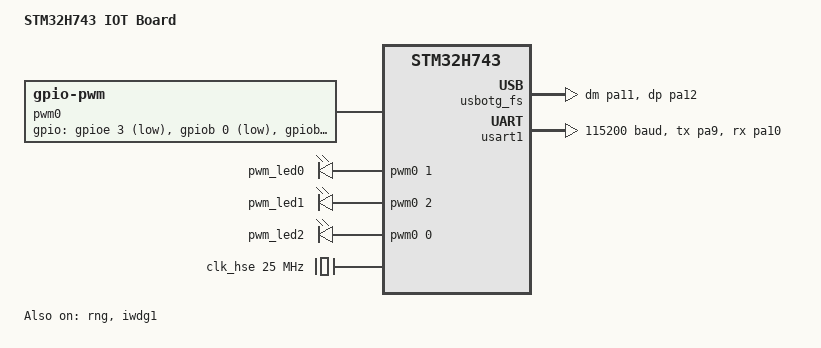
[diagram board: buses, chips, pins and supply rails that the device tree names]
/*
 * Copyright (c) 2024 Charles Dias <charlesdias.cd@outlook.com>
 *
 * SPDX-License-Identifier: Apache-2.0
 */

/dts-v1/;
#include <st/h7/stm32h743Xi.dtsi>
#include <st/h7/stm32h743xihx-pinctrl.dtsi>
#include <zephyr/dt-bindings/input/input-event-codes.h>
#include <zephyr/dt-bindings/mipi_dbi/mipi_dbi.h>
#include <zephyr/dt-bindings/gpio/gpio.h>

/ {
	model = "STM32H743 IOT Board";
	compatible = "st,stm32h743-IOT";

	chosen {
		zephyr,console = &usart1;
		zephyr,shell-uart = &usart1;
		zephyr,sram = &sram0;
		zephyr,flash = &flash0;
	};

	pwm0:gpio_pwm {
		compatible = "zephyr,gpio-pwm";
		pwm-controller;
		#pwm-cells = <2>;
		frequency = <20000>;
		gpios = <&gpioe 3 GPIO_ACTIVE_LOW>,
				<&gpiob 0 GPIO_ACTIVE_LOW>,
				<&gpiob 1 GPIO_ACTIVE_LOW>;
		status = "okay";
	};

	pwmleds {
		compatible = "pwm-leds";
		pwm_led0: pwm_led_0 {
			pwms = <&pwm0 1 PWM_MSEC(20)>;	/* R */
		};

		pwm_led1: pwm_led_1 {
			pwms = <&pwm0 2 PWM_MSEC(20)>;	/* G */
		};

		pwm_led2: pwm_led_2 {
			pwms = <&pwm0 0 PWM_MSEC(20)>; /* B */
		};
	};
};

&usbotg_fs {
	pinctrl-0 = <&usb_otg_fs_dm_pa11 &usb_otg_fs_dp_pa12>;
	pinctrl-names = "default";
	status = "okay";
};

// #include <../boards/common/usb/cdc_acm_serial.dtsi>

&usart1 {
	pinctrl-0 = <&usart1_tx_pa9 &usart1_rx_pa10>;
	pinctrl-names = "default";
	current-speed = <115200>;
	status = "okay";
};

&clk_lsi {
	status = "okay";
};

&clk_hsi {
	status = "okay";
};

&clk_hsi48 {
	status = "okay";
};

&clk_hse {
	clock-frequency = <DT_FREQ_M(25)>;
	status = "okay";
};

&pll {
	div-m = <5>;
	mul-n = <192>;
	div-p = <2>;
	div-q = <2>;
	div-r = <2>;
	clocks = <&clk_hse>;
	status = "okay";
};

&pll2 {
	div-m = <2>;
	mul-n = <12>;
	div-p = <2>;
	div-q = <2>;
	div-r = <2>;
	clocks = <&clk_hse>;
	status = "okay";
};

&pll3 {
	div-m = <2>;
	mul-n = <12>;
	div-p = <2>;
	div-q = <3>;
	div-r = <2>;
	clocks = <&clk_hse>;
	status = "okay";
};

&rcc {
	clocks = <&pll>;
	clock-frequency = <DT_FREQ_M(480)>;
	d1cpre = <1>;
	hpre = <2>;
	d1ppre = <2>;
	d2ppre1 = <2>;
	d2ppre2 = <2>;
	d3ppre = <2>;
};

&pwr {
	power-supply = "ldo";
};

&rng {
	status = "okay";
};

&backup_sram {
	status = "okay";
};

&iwdg1 {
	status = "okay";
};
